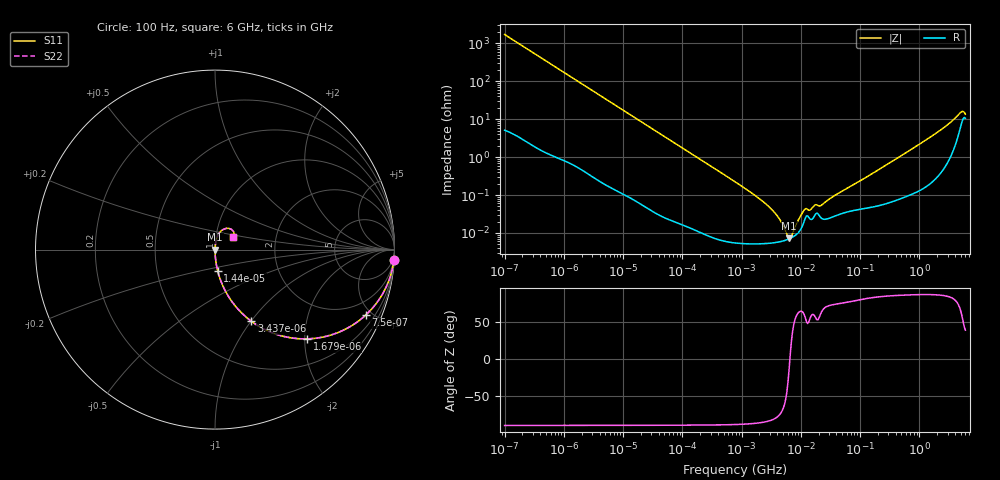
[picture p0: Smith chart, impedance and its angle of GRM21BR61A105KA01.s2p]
!Murata Part Number: GRM21BR61A105KA01
!These Parameters are Measured in Series Mode Connection
!Data Generated on Mar 30, 2021
!  o--ll--o
!Port1  Port2
!  o------o
!Operation Temp=25[degC], DC Bias Voltage=0[V]
!Freq. Start=100[Hz] Stop=6[GHz] 401[Steps]
# Hz S RI R 50
!Freq.(Hz) S11(Real) S11(Imag) S21(Real) S21(Imag) S12(Real) S12(Imag) S22(Real) S22(Imag)
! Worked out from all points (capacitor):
!   401 points, 100 Hz to 6 GHz, reference 50 ohm
!   read as one part in series: C = 930 nF near 109 Hz
!   lowest |Z| = 7.18 mohm at 6.353 MHz (marker M1)
!   series resonance near 6.546 MHz, so ESL is about 640 pH
!   S11 on the Smith chart (normalised r, x): 100 Hz: 1, -34; 750 Hz: 1.02, -4.58; 1.679 kHz: 1.01, -2.05; 3.437 kHz: 1.01, -1.00; 14.4 kHz: 1.00, -0.24; 6 GHz: 1.21, +0.17
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100  0.9964 -0.0583  0.00359 0.0583  0.00359 0.0583  0.9964 -0.0583
350  0.9593 -0.1959  0.0407 0.1959  0.0407 0.1959  0.9593 -0.1959
750  0.8386 -0.3657  0.1614 0.3657  0.1614 0.3657  0.8386 -0.3657
1679  0.5123 -0.4972  0.4877 0.4972  0.4877 0.4972  0.5123 -0.4972
2008  0.4242 -0.4916  0.5758 0.4916  0.5758 0.4916  0.4242 -0.4916
3437  0.2026 -0.3993  0.7974 0.3993  0.7974 0.3993  0.2026 -0.3993
6151  0.0744 -0.2597  0.9256 0.2597  0.9256 0.2597  0.0744 -0.2597
14402  0.015 -0.1185  0.985 0.1185  0.985 0.1185  0.015 -0.1185
40335  0.00216 -0.0431  0.9978 0.0431  0.9978 0.0431  0.00216 -0.0431
774597  5.96e-05 -0.00224  0.9999 0.00224  0.9999 0.00224  5.96e-05 -0.00224
2967816  5.38e-05 -0.000474  0.9999 0.000474  0.9999 0.000474  5.38e-05 -0.000474
4246196  5.8e-05 -0.000243  0.9999 0.000243  0.9999 0.000243  5.8e-05 -0.000243
5554849  6.46e-05 -9.05e-05  0.9999 9.05e-05  0.9999 9.05e-05  6.46e-05 -9.05e-05
6353432  6.99e-05 -1.65e-05  0.9999 1.65e-05  0.9999 1.65e-05  6.99e-05 -1.65e-05
7599586  8.11e-05 8.45e-05  0.9999 -8.45e-05  0.9999 -8.45e-05  8.11e-05 8.45e-05
1.137099e7  0.0002 0.000347  0.9998 -0.000347  0.9998 -0.000347  0.0002 0.000347
1.555665e7  0.000232 0.000397  0.9998 -0.000397  0.9998 -0.000397  0.000232 0.000397
2.225763e7  0.000246 0.000481  0.9998 -0.000481  0.9998 -0.000481  0.000246 0.000481
3.124326e8  0.000676 0.00694  0.9993 -0.00694  0.9993 -0.00694  0.000676 0.00694
1.95892e9  0.00471 0.0433  0.9953 -0.0433  0.9953 -0.0433  0.00471 0.0433
4.796499e9  0.0629 0.1183  0.9371 -0.1183  0.9371 -0.1183  0.0629 0.1183
6e9  0.1007 0.0687  0.8993 -0.0687  0.8993 -0.0687  0.1007 0.0687
